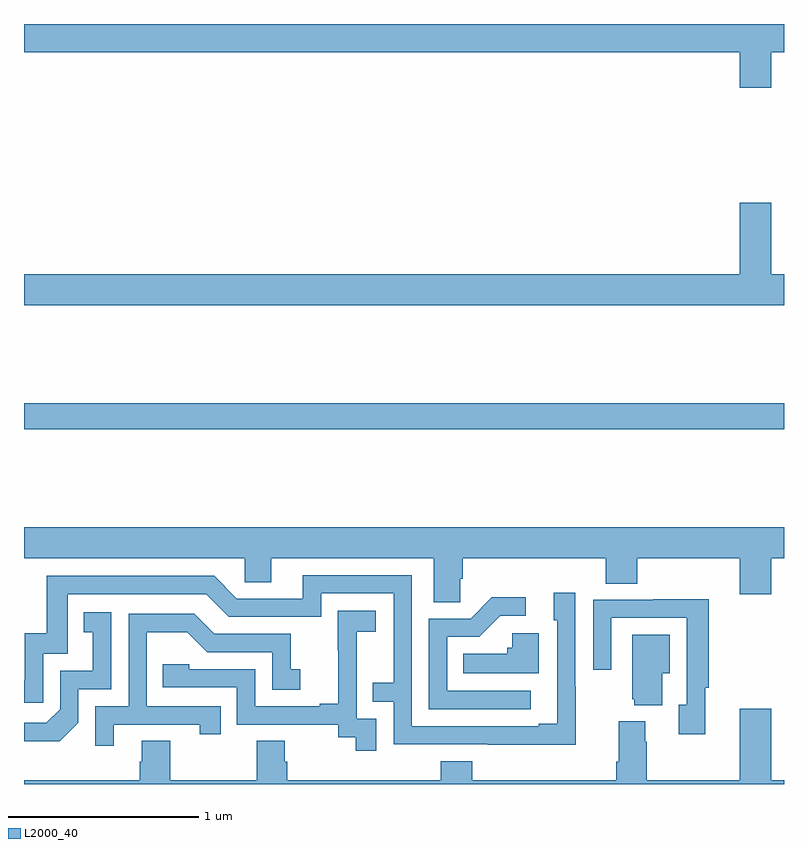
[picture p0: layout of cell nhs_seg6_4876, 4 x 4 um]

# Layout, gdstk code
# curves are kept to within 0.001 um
import gdstk
lib = gdstk.Library(unit=1e-6, precision=1e-09)
def R(c, l, rs):  # rectangles x0, y0, x1, y1
    for r in rs: c.add(gdstk.rectangle(r[:2], r[2:], *l))
def P(c, l, *ps):  # polygons
    for p in ps: c.add(gdstk.Polygon(p, *l))
L2000_40 = (2000, 40)

nhs_seg6_4876 = lib.new_cell('nhs_seg6_4876')
R(nhs_seg6_4876, L2000_40, [(401,929.368,405,929.504)])
P(nhs_seg6_4876, L2000_40, [(404.932,931.352),(405,931.352),(405,931.5),(401,931.5),(401,931.352),(404.768,931.352),(404.768,931.164),(404.932,931.164)],
  [(405,930.184),(404.932,930.184),(404.932,930.559),(404.768,930.559),(404.768,930.184),(401,930.184),(401,930.02),(405,930.02)],
  [(403.296,928.579),(403.31,928.579),(403.31,928.688),(404.063,928.688),(404.063,928.555),(404.228,928.555),(404.228,928.688),(404.768,928.688),(404.768,928.5),(404.932,928.5),(404.932,928.688),(405,928.688),(405,928.852),(401,928.852),(401,928.688),(402.162,928.688),(402.162,928.561),(402.301,928.561),(402.301,928.688),(403.157,928.688),(403.157,928.456),(403.296,928.456)],
  [(403.905,928.013),(403.902,928.013),(403.902,928.507),(403.787,928.507),(403.787,928.362),(403.806,928.362),(403.806,927.817),(403.709,927.817),(403.709,927.804),(403.041,927.804),(403.041,928.599),(402.467,928.599),(402.467,928.476),(402.12,928.476),(402,928.596),(401.121,928.596),(401.121,928.294),(401.003,928.294),(401.003,928.047),(401,928.047),(401,927.927),(401.1,927.927),(401.1,928.185),(401.229,928.185),(401.229,928.5),(401.958,928.5),(402.078,928.38),(402.564,928.38),(402.564,928.503),(402.945,928.503),(402.945,928.034),(402.835,928.034),(402.835,927.933),(402.945,927.933),(402.945,927.708),(403.905,927.707)],
  [(403.666,927.99),(403.227,927.99),(403.227,928.275),(403.396,928.275),(403.507,928.386),(403.642,928.386),(403.642,928.484),(403.463,928.484),(403.35,928.371),(403.131,928.371),(403.131,927.894),(403.666,927.894)],
  [(404.585,928.006),(404.603,928.006),(404.603,928.472),(404.311,928.472),(404.311,928.47),(403.995,928.47),(403.995,928.101),(404.091,928.101),(404.091,928.374),(404.487,928.374),(404.487,927.918),(404.447,927.918),(404.447,927.762),(404.585,927.762)],
  [(402.855,927.843),(402.75,927.843),(402.75,928.073),(402.752,928.073),(402.752,928.301),(402.85,928.301),(402.85,928.411),(402.652,928.411),(402.652,928.205),(402.653,928.205),(402.653,927.922),(402.557,927.922),(402.557,927.909),(402.216,927.909),(402.216,928.104),(401.871,928.104),(401.871,928.131),(401.731,928.131),(401.731,928.008),(402.12,928.008),(402.12,927.813),(402.654,927.813),(402.654,927.745),(402.747,927.745),(402.747,927.675),(402.855,927.675)],
  [(401.286,927.822),(401.286,927.999),(401.46,927.999),(401.46,928.405),(401.314,928.405),(401.314,928.299),(401.363,928.299),(401.363,928.095),(401.19,928.095),(401.19,927.894),(401.118,927.822),(401,927.822),(401,927.725),(401.188,927.725)],
  [(401.473,927.813),(401.924,927.813),(401.924,927.762),(402.035,927.762),(402.035,927.909),(401.646,927.909),(401.646,928.298),(401.86,928.298),(401.964,928.194),(402.306,928.194),(402.306,927.996),(402.454,927.996),(402.454,928.105),(402.405,928.105),(402.405,928.29),(402.001,928.29),(401.896,928.395),(401.55,928.395),(401.55,927.909),(401.376,927.909),(401.376,927.702),(401.473,927.702)],
  [(403.708,928.294),(403.569,928.294),(403.569,928.218),(403.543,928.218),(403.543,928.186),(403.312,928.186),(403.312,928.082),(403.708,928.082)],
  [(404.359,928.082),(404.398,928.082),(404.398,928.285),(404.201,928.285),(404.201,927.945),(404.213,927.945),(404.213,927.914),(404.359,927.914)],
  [(405,927.52),(404.932,927.52),(404.932,927.895),(404.768,927.895),(404.768,927.52),(404.277,927.52),(404.277,927.722),(404.269,927.722),(404.269,927.829),(404.129,927.829),(404.129,927.616),(404.117,927.616),(404.117,927.52),(403.358,927.52),(403.358,927.619),(403.193,927.619),(403.193,927.52),(402.386,927.52),(402.386,927.618),(402.373,927.618),(402.373,927.728),(402.226,927.728),(402.226,927.52),(401.769,927.52),(401.769,927.728),(401.621,927.728),(401.621,927.618),(401.609,927.618),(401.609,927.52),(401,927.52),(401,927.5),(405,927.5)])

lib.write_gds('nhs_seg6_4876.gds')
